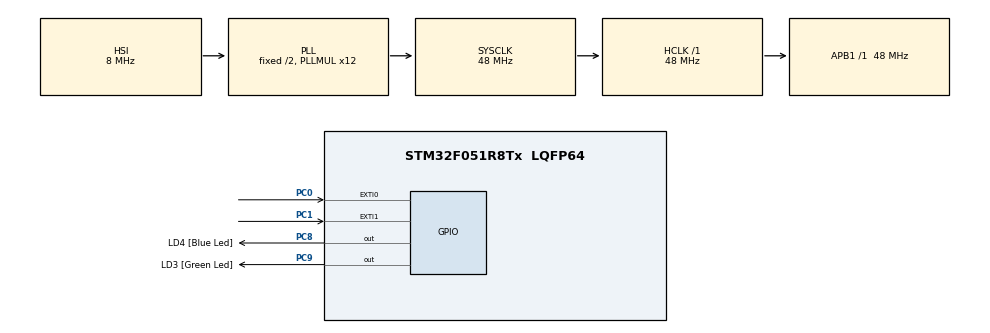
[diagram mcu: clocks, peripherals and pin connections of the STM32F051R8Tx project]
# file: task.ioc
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Mcu.Family=STM32F0
Mcu.Name=STM32F051R8Tx
Mcu.Package=LQFP64
NVIC.EXTI0_1_IRQn=true\:1\:0\:true\:false\:true\:true\:true
PA13.GPIO_Label=SWDIO
PA13.Mode=Serial_Wire
PA13.Signal=SYS_SWDIO
PA14.GPIO_Label=SWCLK
PA14.Mode=Serial_Wire
PA14.Signal=SYS_SWCLK
PC0.Signal=GPXTI0
PC1.Signal=GPXTI1
PC8.GPIO_Label=LD4 [Blue Led]
PC8.Signal=GPIO_Output
PC9.GPIO_Label=LD3 [Green Led]
PC9.Signal=GPIO_Output
PF0-OSC_IN.Mode=HSE-External-Clock-Source
PF0-OSC_IN.Signal=RCC_OSC_IN
ProjectManager.HeapSize=0x200
ProjectManager.StackSize=0x400
ProjectManager.TargetToolchain=STM32CubeIDE
RCC.AHBFreq_Value=48000000
RCC.APB1Freq_Value=48000000
RCC.APB1TimFreq_Value=48000000
RCC.HCLKFreq_Value=48000000
RCC.PLLMUL=RCC_PLL_MUL12
RCC.SYSCLKFreq_VALUE=48000000
RCC.SYSCLKSource=RCC_SYSCLKSOURCE_PLLCLK
board=STM32F0DISCOVERY

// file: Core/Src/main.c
/* USER CODE BEGIN Header */
/**
  ******************************************************************************
  * @file           : main.c
  * @brief          : Main program body
  ******************************************************************************
  * @attention
  *
  * <h2><center>&copy; Copyright (c) 2021 STMicroelectronics.
  * All rights reserved.</center></h2>
  *
  * This software component is licensed by ST under BSD 3-Clause license,
  * the "License"; You may not use this file except in compliance with the
  * License. You may obtain a copy of the License at:
  *                        opensource.org/licenses/BSD-3-Clause
  *
  ******************************************************************************
  */
/* USER CODE END Header */
#include "main.h"
#include "gpio.h"

/* USER CODE BEGIN PV */
volatile uint32_t lastTick, totalInetrval;
volatile uint32_t pressPeriod = 0;
/* USER CODE END PV */

void SystemClock_Config(void);

int main(void)
{

  /* MCU Configuration--------------------------------------------------------*/

  /* Reset of all peripherals, Initializes the Flash interface and the Systick. */
  HAL_Init();

  /* Configure the system clock */
  SystemClock_Config();

  /* Initialize all configured peripherals */
  MX_GPIO_Init();
  /* USER CODE BEGIN 2 */
  lastTick = HAL_GetTick(); //Homing Debounce Implementation
  totalInetrval = 50; //Initial time Interval
  /* USER CODE END 2 */

  /* Infinite loop */
  while (1)
  {
		if (HAL_GetTick() - lastTick > (totalInetrval/2)) {
			HAL_GPIO_TogglePin(GPIOC, GPIO_PIN_9);
			HAL_GPIO_TogglePin(GPIOC, GPIO_PIN_8);
			lastTick = HAL_GetTick();
	  	}
  }
}

void SystemClock_Config(void)
{
  RCC_OscInitTypeDef RCC_OscInitStruct = {0};
  RCC_ClkInitTypeDef RCC_ClkInitStruct = {0};

  /** Initializes the RCC Oscillators according to the specified parameters
  * in the RCC_OscInitTypeDef structure.
  */
  RCC_OscInitStruct.OscillatorType = RCC_OSCILLATORTYPE_HSI;
  RCC_OscInitStruct.HSIState = RCC_HSI_ON;
  RCC_OscInitStruct.HSICalibrationValue = RCC_HSICALIBRATION_DEFAULT;
  RCC_OscInitStruct.PLL.PLLState = RCC_PLL_ON;
  RCC_OscInitStruct.PLL.PLLSource = RCC_PLLSOURCE_HSI;
  RCC_OscInitStruct.PLL.PLLMUL = RCC_PLL_MUL12;
  RCC_OscInitStruct.PLL.PREDIV = RCC_PREDIV_DIV1;
  if (HAL_RCC_OscConfig(&RCC_OscInitStruct) != HAL_OK)
  {
    Error_Handler();
  }
  /** Initializes the CPU, AHB and APB buses clocks
  */
  RCC_ClkInitStruct.ClockType = RCC_CLOCKTYPE_HCLK|RCC_CLOCKTYPE_SYSCLK
                              |RCC_CLOCKTYPE_PCLK1;
  RCC_ClkInitStruct.SYSCLKSource = RCC_SYSCLKSOURCE_PLLCLK;
  RCC_ClkInitStruct.AHBCLKDivider = RCC_SYSCLK_DIV1;
  RCC_ClkInitStruct.APB1CLKDivider = RCC_HCLK_DIV1;

  if (HAL_RCC_ClockConfig(&RCC_ClkInitStruct, FLASH_LATENCY_1) != HAL_OK)
  {
    Error_Handler();
  }
}

/* USER CODE BEGIN 4 */
//Two Limit Switch Handler
void HAL_GPIO_EXTI_Callback(uint16_t GPIO_Pin) {

	static uint32_t pinTick0 = 0, pinTick1 = 0;

	if (GPIO_Pin == GPIO_PIN_0) {

		// Debouncing  10 ms
		if (HAL_GetTick() - pinTick0 > 10) {
			pressPeriod = HAL_GetTick() - pinTick1;  //Get Time Interval
			totalInetrval = pressPeriod;             //Update Time Interval
			//Led Outputs
			HAL_GPIO_WritePin(GPIOC, GPIO_PIN_8, 0);
			HAL_GPIO_WritePin(GPIOC, GPIO_PIN_9, 1);
		}
		pinTick0 = HAL_GetTick();

	} else if (GPIO_Pin == GPIO_PIN_1) {
		// Debouncing  10 ms
		if (HAL_GetTick() - pinTick1 > 10) {
			pressPeriod = HAL_GetTick() - pinTick0;  //Get Time Interval
			totalInetrval = pressPeriod;             //Update Time Interval
			//Led Outputs
			HAL_GPIO_WritePin(GPIOC, GPIO_PIN_8, 1);
			HAL_GPIO_WritePin(GPIOC, GPIO_PIN_9, 0);
		}
		pinTick1 = HAL_GetTick();
	}
}
/* USER CODE END 4 */

void Error_Handler(void)
{
  __disable_irq();
  while (1)
  {
  }
}

/************************ (C) COPYRIGHT STMicroelectronics *****END OF FILE****/
